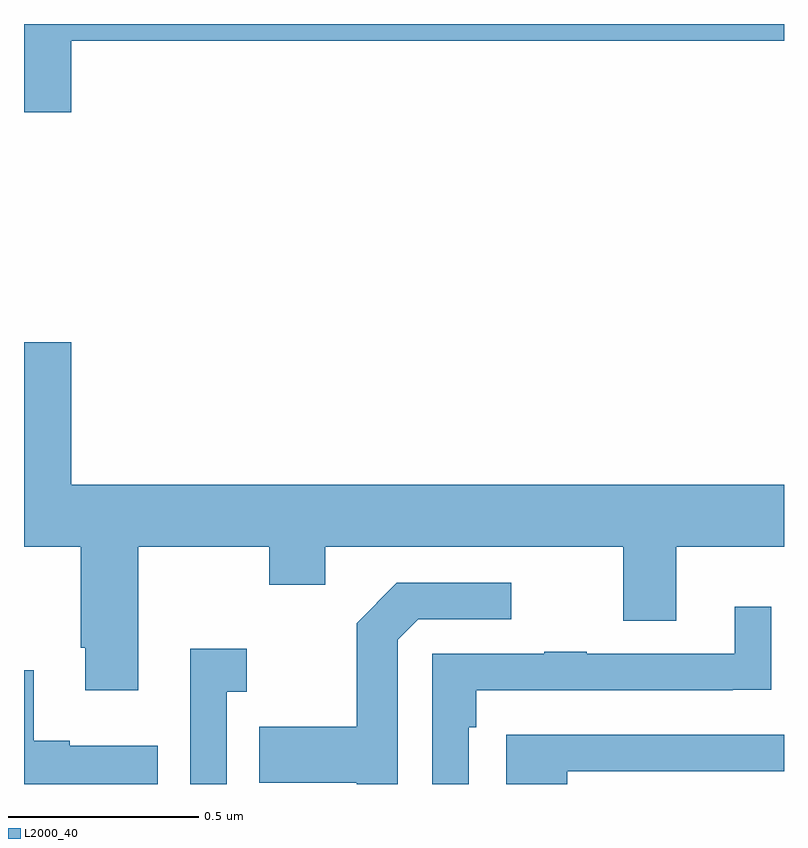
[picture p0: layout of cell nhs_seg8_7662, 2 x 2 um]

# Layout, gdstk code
import gdstk
lib = gdstk.Library(unit=1e-6, precision=1e-09)
def P(c, l, *ps):  # polygons
    for p in ps: c.add(gdstk.Polygon(p, *l))
L2000_40 = (2000, 40)

nhs_seg8_7662 = lib.new_cell('nhs_seg8_7662')
P(nhs_seg8_7662, L2000_40, [(213.124,1093.856),(215,1093.856),(215,1093.9),(213,1093.9),(213,1093.668),(213.124,1093.668)],
  [(213.124,1093.063),(213,1093.063),(213,1092.524),(213.149,1092.524),(213.149,1092.259),(213.161,1092.259),(213.161,1092.147),(213.301,1092.147),(213.301,1092.524),(213.646,1092.524),(213.646,1092.425),(213.793,1092.425),(213.793,1092.524),(214.577,1092.524),(214.577,1092.33),(214.717,1092.33),(214.717,1092.524),(215,1092.524),(215,1092.688),(213.124,1092.688)],
  [(213.984,1092.279),(214.038,1092.333),(214.282,1092.333),(214.282,1092.429),(213.981,1092.429),(213.876,1092.323),(213.876,1092.051),(213.619,1092.051),(213.619,1091.903),(213.876,1091.903),(213.876,1091.9),(213.984,1091.9)],
  [(214.17,1092.05),(214.19,1092.05),(214.19,1092.147),(214.865,1092.147),(214.865,1092.148),(214.967,1092.148),(214.967,1092.367),(214.871,1092.367),(214.871,1092.243),(214.481,1092.243),(214.481,1092.248),(214.369,1092.248),(214.369,1092.243),(214.074,1092.243),(214.074,1091.9),(214.17,1091.9)],
  [(213.534,1092.143),(213.586,1092.143),(213.586,1092.256),(213.438,1092.256),(213.438,1091.9),(213.534,1091.9)],
  [(213.352,1092.001),(213.121,1092.001),(213.121,1092.014),(213.025,1092.014),(213.025,1092.199),(213,1092.199),(213,1091.9),(213.352,1091.9)],
  [(214.43,1091.934),(215,1091.934),(215,1092.03),(214.269,1092.03),(214.269,1091.9),(214.43,1091.9)])

lib.write_gds('nhs_seg8_7662.gds')
